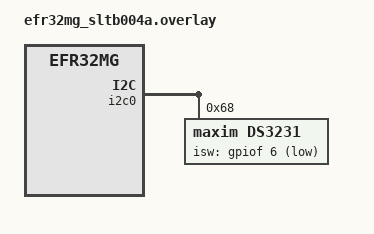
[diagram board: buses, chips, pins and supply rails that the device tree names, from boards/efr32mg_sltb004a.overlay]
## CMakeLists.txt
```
# SPDX-License-Identifier: Apache-2.0

cmake_minimum_required(VERSION 3.20.0)

find_package(Zephyr REQUIRED HINTS $ENV{ZEPHYR_BASE})
project(maxim_ds3231_api)

FILE(GLOB app_sources src/*.c)
target_sources(app PRIVATE ${app_sources})
```

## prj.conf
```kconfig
CONFIG_I2C=y
CONFIG_COUNTER=y
CONFIG_COUNTER_INIT_PRIORITY=65
CONFIG_BT=n
CONFIG_ZTEST=y
CONFIG_TEST_USERSPACE=y
CONFIG_LOG=y
```

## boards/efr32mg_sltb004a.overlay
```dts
/*
 * Copyright (c) 2019 Peter Bigot Consulting, LLC
 *
 * SPDX-License-Identifier: Apache-2.0
 */

&i2c0 { /* SDA H16=PC10, SCL H15=PC11, ISW H13=PF6 */
	status = "okay";
	ds3231: ds3231@68 {
		compatible = "maxim,ds3231";
		reg = <0x68>;
		label = "DS3231";
		isw-gpios = <&gpiof 6 (GPIO_PULL_UP | GPIO_ACTIVE_LOW)>;
	};
};
```

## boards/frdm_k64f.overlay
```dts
/*
 * Copyright (c) 2019 Peter Bigot Consulting, LLC
 *
 * SPDX-License-Identifier: Apache-2.0
 */

&i2c0 { /* SDA PTE25, SCL PTE24, ISW PTE26 */
	status = "okay";

	ds3231: ds3231@68 {
		compatible = "maxim,ds3231";
		reg = <0x68>;
		isw-gpios = <&gpioe 26 (GPIO_PULL_UP | GPIO_ACTIVE_LOW)>;
	};
};
```

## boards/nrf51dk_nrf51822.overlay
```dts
/*
 * Copyright (c) 2019 Peter Bigot Consulting, LLC
 *
 * SPDX-License-Identifier: Apache-2.0
 */

&i2c0 { /* SDA 30, SCL 7 */
	status = "okay";

	ds3231: ds3231@68 {
		compatible = "maxim,ds3231";
		reg = <0x68>;
		isw-gpios = <&gpio0 0 (GPIO_PULL_UP | GPIO_ACTIVE_LOW)>;
	};
};
```

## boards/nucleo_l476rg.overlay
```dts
/*
 * Copyright (c) 2019 Peter Bigot Consulting, LLC
 *
 * SPDX-License-Identifier: Apache-2.0
 */

&i2c1 { /* SDA CN5.9=PB9, SCL CN5.10=PB8, ISW CN5.1=D8=PA9 */
	status = "okay";
	ds3231: ds3231@68 {
		compatible = "maxim,ds3231";
		reg = <0x68>;
		label = "DS3231";
		isw-gpios = <&gpioa 9 (GPIO_PULL_UP | GPIO_ACTIVE_LOW)>;
	};
};
```

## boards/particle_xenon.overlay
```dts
/*
 * Copyright (c) 2019 Peter Bigot Consulting, LLC
 *
 * SPDX-License-Identifier: Apache-2.0
 */

&i2c0 { /* SDA P0.26, SCL P0.27, ISW P1.1, 32K P1.2 */
	status = "okay";

	ds3231: ds3231@68 {
		compatible = "maxim,ds3231";
		reg = <0x68>;
		isw-gpios = <&gpio1 1 (GPIO_PULL_UP | GPIO_ACTIVE_LOW)>;
		32k-gpios = <&gpio1 2 (GPIO_PULL_UP | GPIO_ACTIVE_LOW)>;
	};
};
```

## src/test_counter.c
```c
/*
 * Copyright (c) 2018, Nordic Semiconductor ASA
 *
 * SPDX-License-Identifier: Apache-2.0
 */

#include <zephyr/drivers/counter.h>
#include <zephyr/drivers/rtc/maxim_ds3231.h>
#include <zephyr/ztest.h>
#include <zephyr/kernel.h>
#include <zephyr/logging/log.h>
LOG_MODULE_REGISTER(test);

static struct k_sem top_cnt_sem;
static struct k_sem alarm_cnt_sem;
static struct k_poll_signal sync_sig;

static void top_handler(const struct device *dev, void *user_data);

void *exp_user_data = (void *)199;

#define COUNTER_PERIOD_US USEC_PER_SEC

struct counter_alarm_cfg alarm_cfg;
struct counter_alarm_cfg alarm_cfg2;

static const struct device *const devices[] = {
	DEVICE_DT_GET(DT_NODELABEL(ds3231)),
};
typedef void (*counter_test_func_t)(const struct device *dev);

typedef bool (*counter_capability_func_t)(const struct device *dev);


static void counter_setup_instance(const struct device *dev)
{
	k_sem_reset(&alarm_cnt_sem);
}

static void counter_tear_down_instance(const struct device *dev)
{
	int err;
	struct counter_top_cfg top_cfg = {
		.callback = NULL,
		.user_data = NULL,
		.flags = 0
	};

	top_cfg.ticks = counter_get_max_top_value(dev);
	err = counter_set_top_value(dev, &top_cfg);
	if (err == -ENOTSUP) {
		/* If resetting is not support, attempt without reset. */
		top_cfg.flags = COUNTER_TOP_CFG_DONT_RESET;
		err = counter_set_top_value(dev, &top_cfg);

	}
	zassert_true((err == 0) || (err == -ENOTSUP),
		     "%s: Setting top value to default failed", dev->name);

	err = counter_stop(dev);
	/* DS3231 counter cannot be stopped */
	zassert_equal(-ENOTSUP, err, "%s: Counter failed to stop", dev->name);

}

static void test_all_instances(counter_test_func_t func,
			       counter_capability_func_t capability_check)
{
	for (int i = 0; i < ARRAY_SIZE(devices); i++) {
		counter_setup_instance(devices[i]);
		if ((capability_check == NULL) ||
		    capability_check(devices[i])) {
			TC_PRINT("Testing %s\n", devices[i]->name);
			func(devices[i]);
		} else {
			TC_PRINT("Skipped for %s\n", devices[i]->name);
		}
		counter_tear_down_instance(devices[i]);
		/* Allow logs to be printed. */
		k_sleep(K_MSEC(100));
	}
}

static bool set_top_value_capable(const struct device *dev)
{
	struct counter_top_cfg cfg = {
		.ticks = counter_get_top_value(dev) - 1
	};
	int err;

	err = counter_set_top_value(dev, &cfg);
	if (err == -ENOTSUP) {
		return false;
	}

	cfg.ticks++;
	err = counter_set_top_value(dev, &cfg);
	if (err == -ENOTSUP) {
		return false;
	}

	return true;
}

static void top_handler(const struct device *dev, void *user_data)
{
	zassert_true(user_data == exp_user_data,
		     "%s: Unexpected callback", dev->name);
	k_sem_give(&top_cnt_sem);
}

void test_set_top_value_with_alarm_instance(const struct device *dev)
{
	int err;
	uint32_t cnt;
	uint32_t top_cnt;
	struct counter_top_cfg top_cfg = {
		.callback = top_handler,
		.user_data = exp_user_data,
		.flags = 0
	};

	k_sem_reset(&top_cnt_sem);

	top_cfg.ticks = counter_us_to_ticks(dev, COUNTER_PERIOD_US);
	err = counter_start(dev);
	zassert_equal(0, err, "%s: Counter failed to start", dev->name);

	k_busy_wait(5000);

	err = counter_get_value(dev, &cnt);
	zassert_true(err == 0, "%s: Counter read failed (err: %d)", dev->name,
		     err);
	if (counter_is_counting_up(dev)) {
		err = (cnt > 0) ? 0 : 1;
	} else {
		top_cnt = counter_get_top_value(dev);
		err = (cnt < top_cnt) ? 0 : 1;
	}
	zassert_true(err == 0, "%s: Counter should progress", dev->name);

	err = counter_set_top_value(dev, &top_cfg);
	zassert_equal(0, err, "%s: Counter failed to set top value (err: %d)",
		      dev->name, err);

	k_sleep(K_USEC(5.2 * COUNTER_PERIOD_US));

	top_cnt = k_sem_count_get(&top_cnt_sem);
	zassert_true(top_cnt == 5U,
		     "%s: Unexpected number of turnarounds (%d).",
		     dev->name, top_cnt);
}

void test_set_top_value_with_alarm(void)
{
	test_all_instances(test_set_top_value_with_alarm_instance,
			   set_top_value_capable);
}

void test_set_top_value_without_alarm_instance(const struct device *dev)
{
	int err;
	uint32_t cnt;
	uint32_t top_cnt;
	struct counter_top_cfg top_cfg = {
		.callback = NULL,
		.user_data = NULL,
		.flags = 0
	};

	top_cfg.ticks = counter_us_to_ticks(dev, COUNTER_PERIOD_US);
	err = counter_start(dev);
	zassert_equal(0, err, "%s: Counter failed to start", dev->name);

	k_sleep(K_USEC(5000));

	err = counter_get_value(dev, &cnt);
	zassert_true(err == 0, "%s: Counter read failed (err: %d)", dev->name,
		     err);
	if (counter_is_counting_up(dev)) {
		err = (cnt > 0) ? 0 : 1;
	} else {
		top_cnt = counter_get_top_value(dev);
		err = (cnt < top_cnt) ? 0 : 1;
	}
	zassert_true(err == 0, "%s: Counter should progress", dev->name);

	err = counter_set_top_value(dev, &top_cfg);
	zassert_equal(0, err, "%s: Counter failed to set top value (err: %d)",
		      dev->name, err);

	zassert_true(counter_get_top_value(dev) == top_cfg.ticks,
		     "%s: new top value not in use.",
		     dev->name);
}

void test_set_top_value_without_alarm(void)
{
	test_all_instances(test_set_top_value_without_alarm_instance,
			   set_top_value_capable);
}

static void alarm_handler(const struct device *dev, uint8_t chan_id,
			  uint32_t counter,
			  void *user_data)
{
	uint32_t now;
	int err;

	err = counter_get_value(dev, &now);
	zassert_true(err == 0, "%s: Counter read failed (err: %d)",
		     dev->name, err);

	if (counter_is_counting_up(dev)) {
		zassert_true(now >= counter,
			     "%s: Alarm (%d) too early now: %d (counting up).",
			     dev->name, counter, now);
	} else {
		zassert_true(now <= counter,
			     "%s: Alarm (%d) too early now: %d (counting down).",
			     dev->name, counter, now);
	}

	if (user_data) {
		zassert_true(&alarm_cfg == user_data,
			     "%s: Unexpected callback", dev->name);
	}

	/* DS3231 does not invoke callbacks from interrupt context. */
	zassert_false(k_is_in_isr(), "%s: Unexpected interrupt context",
		      dev->name);
	k_sem_give(&alarm_cnt_sem);
}

void test_single_shot_alarm_instance(const struct device *dev, bool set_top)
{
	int err;
	uint32_t ticks;
	uint32_t alarm_cnt;
	struct counter_top_cfg top_cfg = {
		.callback = top_handler,
		.user_data = exp_user_data,
		.flags = 0
	};

	ticks = counter_us_to_ticks(dev, COUNTER_PERIOD_US);
	top_cfg.ticks = ticks;

	alarm_cfg.flags = 0;
	alarm_cfg.callback = alarm_handler;
	alarm_cfg.user_data = &alarm_cfg;

	k_sem_reset(&alarm_cnt_sem);

	if (counter_get_num_of_channels(dev) < 1U) {
		/* Counter does not support any alarm */
		return;
	}

	err = counter_start(dev);
	zassert_equal(-EALREADY, err, "%s: Counter failed to start", dev->name);

	if (set_top) {
		err = counter_set_top_value(dev, &top_cfg);

		zassert_equal(0, err,
			      "%s: Counter failed to set top value", dev->name);

		alarm_cfg.ticks = ticks + 1;
		err = counter_set_channel_alarm(dev, 0, &alarm_cfg);
		zassert_equal(-EINVAL, err,
			      "%s: Counter should return error because ticks"
			      " exceeded the limit set alarm", dev->name);
		alarm_cfg.ticks = ticks - 1;
	}

	alarm_cfg.ticks = ticks;
	err = counter_set_channel_alarm(dev, 0, &alarm_cfg);
	zassert_equal(0, err, "%s: Counter set alarm failed (err: %d)",
		      dev->name, err);

	err = counter_set_top_value(dev, &top_cfg);
	k_sleep(K_USEC(2 * (uint32_t)counter_ticks_to_us(dev, ticks)));

	alarm_cnt = k_sem_count_get(&alarm_cnt_sem);
	zassert_equal(1, alarm_cnt,
		      "%s: Expecting alarm callback", dev->name);

	k_sleep(K_USEC(1.5 * counter_ticks_to_us(dev, ticks)));
	alarm_cnt = k_sem_count_get(&alarm_cnt_sem);
	zassert_equal(1, alarm_cnt,
		      "%s: Expecting alarm callback", dev->name);

	err = counter_cancel_channel_alarm(dev, 0);
	zassert_equal(0, err, "%s: Counter disabling alarm failed %d", dev->name, err);

	top_cfg.ticks = counter_get_max_top_value(dev);
	top_cfg.callback = NULL;
	top_cfg.user_data = NULL;
	err = counter_set_top_value(dev, &top_cfg);
	if (err == -ENOTSUP) {
		/* If resetting is not support, attempt without reset. */
		top_cfg.flags = COUNTER_TOP_CFG_DONT_RESET;
		err = counter_set_top_value(dev, &top_cfg);

	}
	zassert_true((err == 0) || (err == -ENOTSUP),
		     "%s: Setting top value to default failed", dev->name);

	err = counter_stop(dev);
	/* DS3231 counter cannot be stopped */
	zassert_equal(-ENOTSUP, err, "%s: Counter failed to stop", dev->name);
}

void test_single_shot_alarm_notop_instance(const struct device *dev)
{
	test_single_shot_alarm_instance(dev, false);
}

void test_single_shot_alarm_top_instance(const struct device *dev)
{
	test_single_shot_alarm_instance(dev, true);
}

static bool single_channel_alarm_capable(const struct device *dev)
{
	return (counter_get_num_of_channels(dev) > 0);
}

static bool single_channel_alarm_and_custom_top_capable(const struct device *dev)
{
	return single_channel_alarm_capable(dev) &&
	       set_top_value_capable(dev);
}

ZTEST(counter_callback, test_single_shot_alarm_notop)
{
	test_all_instances(test_single_shot_alarm_notop_instance,
			   single_channel_alarm_capable);
}

ZTEST(counter_callback, test_single_shot_alarm_top)
{
	test_all_instances(test_single_shot_alarm_top_instance,
			   single_channel_alarm_and_custom_top_capable);
}

static void *clbk_data[10];

static void alarm_handler2(const struct device *dev, uint8_t chan_id,
			   uint32_t counter,
			   void *user_data)
{
	clbk_data[k_sem_count_get(&alarm_cnt_sem)] = user_data;
	k_sem_give(&alarm_cnt_sem);
}

/*
 * Two alarms set. First alarm is absolute, second relative. Because
 * setting of both alarms is delayed it is expected that second alarm
 * will expire first (relative to the time called) while first alarm
 * will expire after next wrap around.
 */
void test_multiple_alarms_instance(const struct device *dev)
{
	int err;
	uint32_t ticks;
	uint32_t alarm_cnt;
	struct counter_top_cfg top_cfg = {
		.callback = top_handler,
		.user_data = exp_user_data,
		.flags = 0
	};

	ticks = counter_us_to_ticks(dev, COUNTER_PERIOD_US);
	top_cfg.ticks = ticks;

	alarm_cfg.flags = COUNTER_ALARM_CFG_ABSOLUTE;
	alarm_cfg.ticks = counter_us_to_ticks(dev, 2000);
	alarm_cfg.callback = alarm_handler2;
	alarm_cfg.user_data = &alarm_cfg;

	alarm_cfg2.flags = 0;
	alarm_cfg2.ticks = counter_us_to_ticks(dev, 2000);
	alarm_cfg2.callback = alarm_handler2;
	alarm_cfg2.user_data = &alarm_cfg2;

	k_sem_reset(&alarm_cnt_sem);

	if (counter_get_num_of_channels(dev) < 2U) {
		/* Counter does not support two alarms */
		return;
	}

	err = counter_start(dev);
	/* DS3231 is always running */
	zassert_equal(-EALREADY, err, "%s: Counter failed to start", dev->name);

	err = counter_set_top_value(dev, &top_cfg);
	zassert_equal(-ENOTSUP, err,
		      "%s: Counter failed to set top value: %d", dev->name, err);

	k_sleep(K_USEC(3 * (uint32_t)counter_ticks_to_us(dev, alarm_cfg.ticks)));

	err = counter_set_channel_alarm(dev, 0, &alarm_cfg);
	zassert_equal(0, err, "%s: Counter set alarm failed", dev->name);

	err = counter_set_channel_alarm(dev, 1, &alarm_cfg2);
	zassert_equal(0, err, "%s: Counter set alarm failed", dev->name);

	k_sleep(K_USEC(1.2 * counter_ticks_to_us(dev, ticks * 2U)));
	alarm_cnt = k_sem_count_get(&alarm_cnt_sem);
	zassert_equal(2, alarm_cnt,
		      "%s: Invalid number of callbacks %d (expected: %d)",
		      dev->name, alarm_cnt, 2);

	zassert_equal(&alarm_cfg2, clbk_data[0],
		      "%s: Expected different order or callbacks",
		      dev->name);
	zassert_equal(&alarm_cfg, clbk_data[1],
		      "%s: Expected different order or callbacks",
		      dev->name);

	/* tear down */
	err = counter_cancel_channel_alarm(dev, 0);
	zassert_equal(0, err, "%s: Counter disabling alarm failed", dev->name);

	err = counter_cancel_channel_alarm(dev, 1);
	zassert_equal(0, err, "%s: Counter disabling alarm failed", dev->name);
}

static bool multiple_channel_alarm_capable(const struct device *dev)
{
	return (counter_get_num_of_channels(dev) > 1);
}

static bool not_capable(const struct device *dev)
{
	return false;
}

ZTEST(counter_callback, test_multiple_alarms)
{
	/* Test not supported on DS3231 because second alarm resolution is
	 * more coarse than first alarm; code would have to be changed to
	 * align to boundaries and wait over 60 s to verify.
	 *
	 * Basic support for two channels is verified in
	 * test_all_channels_instance().
	 */
	(void)multiple_channel_alarm_capable;
	test_all_instances(test_multiple_alarms_instance,
			   not_capable);
}

void test_all_channels_instance(const struct device *dev)
{
	int err;
	const int n = 10;
	int nchan = 0;
	bool limit_reached = false;
	struct counter_alarm_cfg alarm_cfgs;
	uint32_t ticks;
	uint32_t alarm_cnt;

	/* Use a delay large enough to guarantee a minute-counter
	 * rollover so both alarms can be tested.
	 */
	ticks = counter_us_to_ticks(dev, 61U * COUNTER_PERIOD_US);

	alarm_cfgs.flags = 0;
	alarm_cfgs.ticks = ticks;
	alarm_cfgs.callback = alarm_handler2;
	alarm_cfgs.user_data = NULL;

	err = counter_start(dev);
	zassert_equal(-EALREADY, err, "%s: Counter failed to start", dev->name);

	for (int i = 0; i < n; i++) {
		err = counter_set_channel_alarm(dev, i, &alarm_cfgs);
		if ((err == 0) && !limit_reached) {
			nchan++;
		} else if (err == -ENOTSUP) {
			limit_reached = true;
		} else {
			zassert_equal(0, 1,
				      "%s: Unexpected error on setting alarm: %d",
				      dev->name, err);
		}
	}

	TC_PRINT("Sleeping %u s to support minute-resolution alarm channel\n",
		 ticks + 1U);
	k_sleep(K_USEC(counter_ticks_to_us(dev, ticks + 1U)));
	alarm_cnt = k_sem_count_get(&alarm_cnt_sem);
	zassert_equal(nchan, alarm_cnt,
		      "%s: Expecting alarm callback", dev->name);

	for (int i = 0; i < nchan; i++) {
		err = counter_cancel_channel_alarm(dev, i);
		zassert_equal(0, err,
			      "%s: Unexpected error on disabling alarm", dev->name);
	}

	for (int i = nchan; i < n; i++) {
		err = counter_cancel_channel_alarm(dev, i);
		zassert_equal(-ENOTSUP, err,
			      "%s: Unexpected error on disabling alarm", dev->name);
	}
}

ZTEST(counter_z, test_all_channels)
{
	test_all_instances(test_all_channels_instance,
			   single_channel_alarm_capable);
}

/**
 * Test validates if alarm set too late (current tick or current tick + 1)
 * results in callback being called.
 */
void test_late_alarm_instance(const struct device *dev)
{
	int err;
	uint32_t alarm_cnt;
	uint32_t tick_us = (uint32_t)counter_ticks_to_us(dev, 1);
	uint32_t guard = counter_us_to_ticks(dev, 200);
	struct counter_alarm_cfg alarm_cfg = {
		.callback = alarm_handler,
		.flags = COUNTER_ALARM_CFG_ABSOLUTE |
			 COUNTER_ALARM_CFG_EXPIRE_WHEN_LATE,
		.user_data = NULL
	};

	err = counter_set_guard_period(dev, guard,
				       COUNTER_GUARD_PERIOD_LATE_TO_SET);
	zassert_equal(0, err, "%s: Unexpected error", dev->name);

	err = counter_start(dev);
	zassert_equal(0, err, "%s: Unexpected error", dev->name);

	k_sleep(K_USEC(2 * tick_us));

	alarm_cfg.ticks = 0;
	err = counter_set_channel_alarm(dev, 0, &alarm_cfg);
	zassert_equal(-ETIME, err, "%s: Unexpected error (%d)", dev->name, err);

	/* wait couple of ticks */
	k_sleep(K_USEC(5 * tick_us));

	alarm_cnt = k_sem_count_get(&alarm_cnt_sem);
	zassert_equal(1, alarm_cnt,
		      "%s: Expected %d callbacks, got %d\n",
		      dev->name, 1, alarm_cnt);

	err = counter_get_value(dev, &(alarm_cfg.ticks));
	zassert_true(err == 0, "%s: Counter read failed (err: %d)", dev->name,
		     err);

	err = counter_set_channel_alarm(dev, 0, &alarm_cfg);
	zassert_equal(-ETIME, err, "%s: Failed to set an alarm (err: %d)",
		      dev->name, err);

	/* wait to ensure that tick+1 timeout will expire. */
	k_sleep(K_USEC(3 * tick_us));

	alarm_cnt = k_sem_count_get(&alarm_cnt_sem);
	zassert_equal(2, alarm_cnt,
		      "%s: Expected %d callbacks, got %d\n",
		      dev->name, 2, alarm_cnt);
}

void test_late_alarm_error_instance(const struct device *dev)
{
	int err;
	uint32_t tick_us = (uint32_t)counter_ticks_to_us(dev, 1);
	uint32_t guard = counter_us_to_ticks(dev, 200);
	struct counter_alarm_cfg alarm_cfg = {
		.callback = alarm_handler,
		.flags = COUNTER_ALARM_CFG_ABSOLUTE,
		.user_data = NULL
	};

	err = counter_set_guard_period(dev, guard,
				       COUNTER_GUARD_PERIOD_LATE_TO_SET);
	zassert_equal(0, err, "%s: Unexpected error", dev->name);

	err = counter_start(dev);
	zassert_equal(0, err, "%s: Unexpected error", dev->name);

	k_sleep(K_USEC(2 * tick_us));

	alarm_cfg.ticks = 0;
	err = counter_set_channel_alarm(dev, 0, &alarm_cfg);
	zassert_equal(-ETIME, err,
		      "%s: Failed to detect late setting (err: %d)",
		      dev->name, err);

	err = counter_get_value(dev, &(alarm_cfg.ticks));
	zassert_true(err == 0, "%s: Counter read failed (err: %d)", dev->name,
		     err);

	err = counter_set_channel_alarm(dev, 0, &alarm_cfg);
	zassert_equal(-ETIME, err,
		      "%s: Counter failed to detect late setting (err: %d)",
		      dev->name, err);
}

static bool late_detection_capable(const struct device *dev)
{
	uint32_t guard = counter_get_guard_period(dev,
					       COUNTER_GUARD_PERIOD_LATE_TO_SET);
	int err = counter_set_guard_period(dev, guard,
					   COUNTER_GUARD_PERIOD_LATE_TO_SET);

	if (err == -ENOTSUP) {
		return false;
	}

	return true;
}

ZTEST(counter_callback, test_late_alarm)
{
	test_all_instances(test_late_alarm_instance, late_detection_capable);
}

ZTEST(counter_callback, test_late_alarm_error)
{
	test_all_instances(test_late_alarm_error_instance,
			   late_detection_capable);
}

static void test_short_relative_alarm_instance(const struct device *dev)
{
	int err;
	uint32_t alarm_cnt;
	uint32_t tick_us = (uint32_t)counter_ticks_to_us(dev, 1);
	struct counter_alarm_cfg alarm_cfg = {
		.callback = alarm_handler,
		.flags = 0,
		.user_data = NULL
	};

	err = counter_start(dev);
	zassert_equal(0, err, "%s: Unexpected error", dev->name);

	alarm_cfg.ticks = 1;

	for (int i = 0; i < 100; ++i) {
		err = counter_set_channel_alarm(dev, 0, &alarm_cfg);
		zassert_equal(0, err,
			      "%s: Failed to set an alarm (err: %d)",
			      dev->name, err);

		/* wait to ensure that tick+1 timeout will expire. */
		k_sleep(K_USEC(3 * tick_us));

		alarm_cnt = k_sem_count_get(&alarm_cnt_sem);
		zassert_equal(i + 1, alarm_cnt,
			      "%s: Expected %d callbacks, got %d\n",
			      dev->name, i + 1, alarm_cnt);
	}
}

/* Function checks if relative alarm set for 1 tick will expire. If handler is
 * not called within near future it indicates that driver do not support it and
 * more extensive testing is skipped.
 */
static bool short_relative_capable(const struct device *dev)
{
	struct counter_alarm_cfg alarm_cfg = {
		.callback = alarm_handler,
		.flags = 0,
		.user_data = NULL,
		.ticks = 1
	};
	int err;
	bool ret;

	if (single_channel_alarm_capable(dev) == false) {
		return false;
	}

	err = counter_start(dev);
	if (err != 0) {
		ret = false;
		goto end;
	}

	k_sem_reset(&alarm_cnt_sem);
	err = counter_set_channel_alarm(dev, 0, &alarm_cfg);
	if (err != 0) {
		ret = false;
		goto end;
	}

	k_sleep(K_USEC(counter_ticks_to_us(dev, 10)));
	if (k_sem_count_get(&alarm_cnt_sem) == 1) {
		ret = true;
	} else {
		ret = false;
		(void)counter_cancel_channel_alarm(dev, 0);
	}

end:
	k_sem_reset(&alarm_cnt_sem);
	counter_stop(dev);
	k_sleep(K_USEC(1000));

	return ret;
}

ZTEST(counter_callback, test_short_relative_alarm)
{
	test_all_instances(test_short_relative_alarm_instance,
			   short_relative_capable);
}

static void test_ds3231_synchronize(void)
{
	const struct device *dev = devices[0];
	struct sys_notify notify;
	struct k_poll_event evt = K_POLL_EVENT_INITIALIZER(K_POLL_TYPE_SIGNAL,
							   K_POLL_MODE_NOTIFY_ONLY,
							   &sync_sig);
	int rc;
	int res = 0;

	k_poll_signal_reset(&sync_sig);
	sys_notify_init_signal(&notify, &sync_sig);
	rc = maxim_ds3231_synchronize(dev, &notify);
	zassert_true(rc >= 0,
		     "%s: Failed to initiate synchronize: %d", dev->name, rc);

	rc = k_poll(&evt, 1, K_SECONDS(2));
	zassert_true(rc == 0,
		     "%s: Sync wait failed: %d\n", dev->name, rc);

	rc = sys_notify_fetch_result(&notify, &res);

	zassert_true(rc >= 0,
		     "%s: Sync result read failed: %d", dev->name, rc);
	zassert_true(res >= 0,
		     "%s: Sync operation failed: %d", dev->name, res);
}

static void ds3231_get_syncpoint(void)
{
	const struct device *dev = devices[0];
	struct maxim_ds3231_syncpoint syncpoint;
	int rc;

	rc = maxim_ds3231_get_syncpoint(dev, &syncpoint);
	zassert_true(rc >= 0,
		     "%s: Failed to read syncpoint: %d", dev->name, rc);
	zassert_equal(syncpoint.rtc.tv_nsec, 0,
		      "%s: Unexpected nanoseconds\n", dev->name);

	TC_PRINT("Time %u at %u local\n", (uint32_t)syncpoint.rtc.tv_sec,
		 syncpoint.syncclock);
}

static void test_ds3231_req_syncpoint(void)
{
	const struct device *dev = devices[0];
	struct k_poll_event evt = K_POLL_EVENT_INITIALIZER(K_POLL_TYPE_SIGNAL,
							   K_POLL_MODE_NOTIFY_ONLY,
							   &sync_sig);
	int rc;

	k_poll_signal_reset(&sync_sig);
	rc = maxim_ds3231_req_syncpoint(dev, &sync_sig);
	zassert_true(rc >= 0,
		     "%s: Failed to request syncpoint: %d", dev->name, rc);

	rc = k_poll(&evt, 1, K_SECONDS(2));
	zassert_true(rc == 0,
		     "%s: Syncpoint poll failed: %d\n", dev->name, rc);
	rc = sync_sig.result;
	zassert_true(rc >= 0,
		     "%s: Syncpoint operation failed: %d\n", dev->name, rc);
}

ZTEST(counter_supervisor, test_ds3231_get_syncpoint)
{
	test_ds3231_synchronize();
	ds3231_get_syncpoint();
}

ZTEST_USER(counter_user, test_ds3231_get_syncpoint)
{
	test_ds3231_req_syncpoint();
	ds3231_get_syncpoint();
}


static void *counter_setup(void)
{
	int i;

	/* Give required clocks some time to stabilize. In particular, nRF SoCs
	 * need such delay for the Xtal LF clock source to start and for this
	 * test to use the correct timing.
	 */
	k_busy_wait(USEC_PER_MSEC * 300);

	k_sem_init(&top_cnt_sem, 0, UINT_MAX);
	k_object_access_grant(&top_cnt_sem, k_current_get());

	k_sem_init(&alarm_cnt_sem, 0, UINT_MAX);
	k_object_access_grant(&alarm_cnt_sem, k_current_get());

	k_poll_signal_init(&sync_sig);
	k_object_access_grant(&sync_sig, k_current_get());

	for (i = 0; i < ARRAY_SIZE(devices); i++) {
		zassert_true(device_is_ready(devices[i]),
			     "Device %s is not ready", devices[i]->name);
		k_object_access_grant(devices[i], k_current_get());
	}

	return NULL;
}

/* Uses callbacks, run in supervisor mode */
ZTEST_SUITE(counter_callback, NULL, counter_setup, NULL, NULL, NULL);

/* Supervisor-mode driver-specific API */
ZTEST_SUITE(counter_supervisor, NULL, NULL, NULL, NULL, NULL);

/* User-mode-compatible driver-specific API*/
ZTEST_SUITE(counter_user, NULL, NULL, NULL, NULL, NULL);

/* Supervisor-mode test, takes 63 s so do it last */
ZTEST_SUITE(counter_z, NULL, NULL, NULL, NULL, NULL);
```
